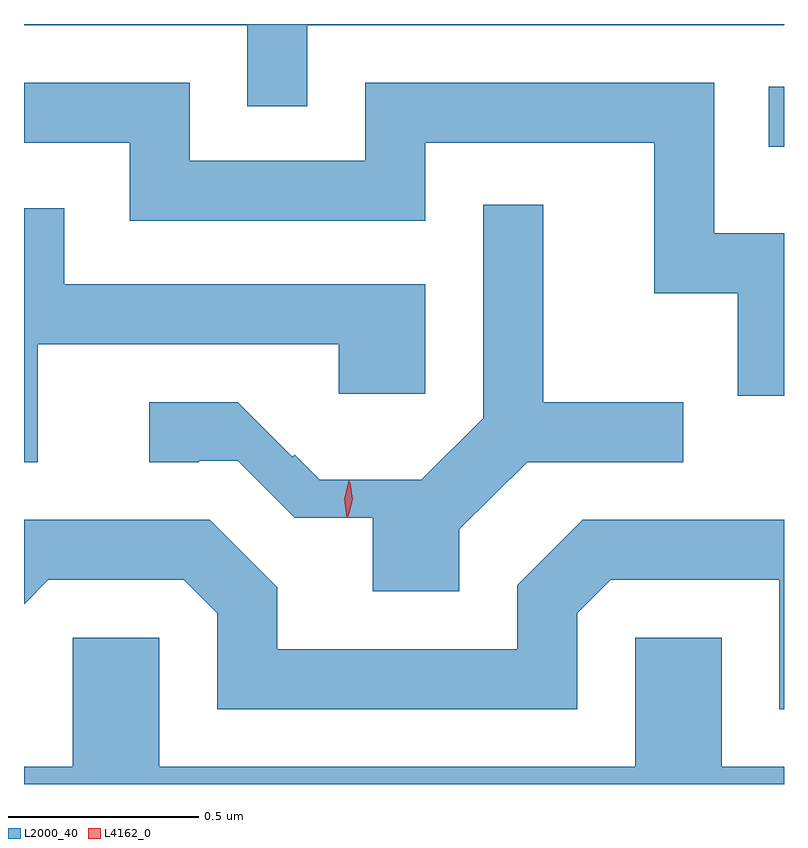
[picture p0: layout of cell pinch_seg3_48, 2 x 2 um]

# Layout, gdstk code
import gdstk
lib = gdstk.Library(unit=1e-6, precision=1e-09)
def R(c, l, rs):  # rectangles x0, y0, x1, y1
    for r in rs: c.add(gdstk.rectangle(r[:2], r[2:], *l))
def P(c, l, *ps):  # polygons
    for p in ps: c.add(gdstk.Polygon(p, *l))
L2000_40 = (2000, 40)
L4162_0 = (4162, 0)

pinch_seg3_48 = lib.new_cell('pinch_seg3_48')
R(pinch_seg3_48, L2000_40, [(1898.183,1201.176,1898.223,1201.334)])
P(pinch_seg3_48, L2000_40, [(1896.969,1201.496),(1898.223,1201.496),(1898.223,1201.499),(1896.223,1201.499),(1896.223,1201.496),(1896.811,1201.496),(1896.811,1201.283),(1896.969,1201.283)],
  [(1898.223,1200.949),(1898.039,1200.949),(1898.039,1201.344),(1897.121,1201.344),(1897.121,1201.139),(1896.659,1201.139),(1896.659,1201.344),(1896.223,1201.344),(1896.223,1201.186),(1896.501,1201.186),(1896.501,1200.981),(1897.279,1200.981),(1897.279,1201.186),(1897.881,1201.186),(1897.881,1200.791),(1898.101,1200.791),(1898.101,1200.521),(1898.223,1200.521)],
  [(1897.369,1200.169),(1897.547,1200.346),(1897.958,1200.346),(1897.958,1200.504),(1897.589,1200.504),(1897.589,1201.023),(1897.431,1201.023),(1897.431,1200.462),(1897.269,1200.3),(1897.001,1200.3),(1896.935,1200.366),(1896.929,1200.36),(1896.785,1200.504),(1896.553,1200.504),(1896.553,1200.346),(1896.683,1200.346),(1896.683,1200.35),(1896.785,1200.35),(1896.935,1200.2),(1897.141,1200.2),(1897.141,1200.006),(1897.369,1200.006)],
  [(1896.259,1200.656),(1897.051,1200.656),(1897.051,1200.526),(1897.279,1200.526),(1897.279,1200.814),(1896.329,1200.814),(1896.329,1201.014),(1896.223,1201.014),(1896.223,1200.346),(1896.259,1200.346)],
  [(1897.679,1199.949),(1897.767,1200.036),(1898.211,1200.036),(1898.211,1199.696),(1898.223,1199.696),(1898.223,1200.194),(1897.694,1200.194),(1897.521,1200.022),(1897.521,1199.854),(1896.889,1199.854),(1896.889,1200.017),(1896.712,1200.194),(1896.223,1200.194),(1896.223,1199.972),(1896.287,1200.036),(1896.644,1200.036),(1896.731,1199.949),(1896.731,1199.696),(1897.679,1199.696)],
  [(1898.223,1199.544),(1898.059,1199.544),(1898.059,1199.884),(1897.831,1199.884),(1897.831,1199.544),(1896.579,1199.544),(1896.579,1199.884),(1896.351,1199.884),(1896.351,1199.544),(1896.223,1199.544),(1896.223,1199.499),(1898.223,1199.499)])
P(pinch_seg3_48, L4162_0, [(1897.073,1200.2),(1897.072,1200.201),(1897.066,1200.25),(1897.078,1200.297),(1897.079,1200.298),(1897.079,1200.297),(1897.086,1200.248),(1897.073,1200.201)],
  [(1897.076,1200.205),(1897.076,1200.206),(1897.068,1200.249),(1897.08,1200.292),(1897.08,1200.292),(1897.081,1200.292),(1897.088,1200.248),(1897.077,1200.206)])

lib.write_gds('pinch_seg3_48.gds')
